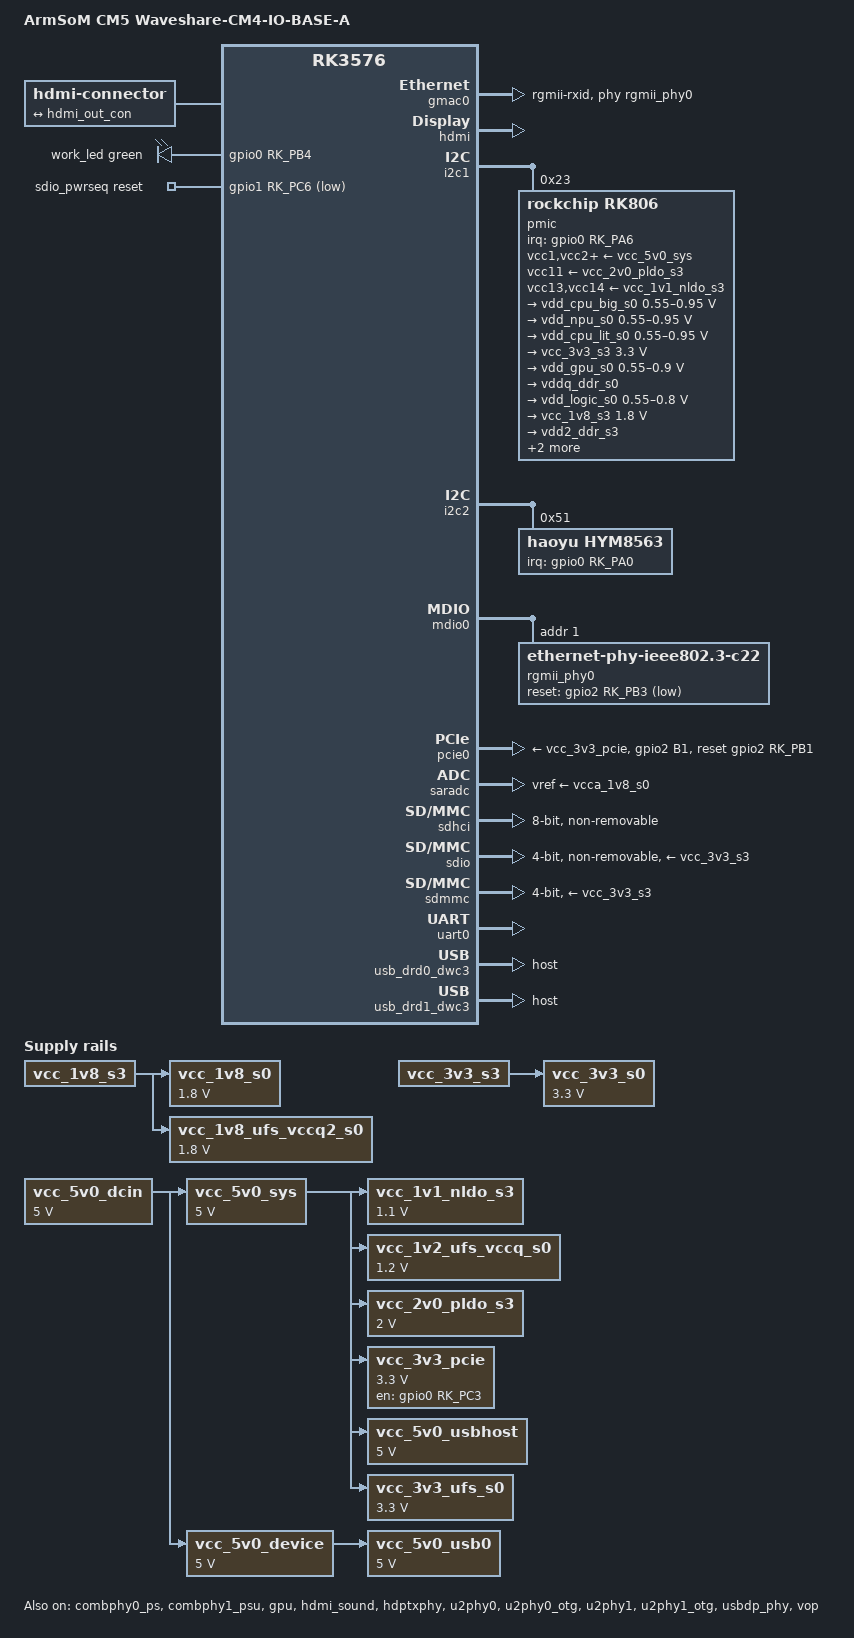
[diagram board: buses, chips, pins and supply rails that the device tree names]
// SPDX-License-Identifier: (GPL-2.0+ OR MIT)
/*
 * ArmSoM CM5 on Waveshare CM4-IO-BASE-A carrier — mainline-style DTS for EDK2/UEFI boot
 *
 * The ArmSoM CM5 is a Raspberry Pi CM4-form-factor compute module built on
 * the Rockchip RK3576 SoC (4×Cortex-A72 + 4×Cortex-A53, same silicon as
 * Radxa ROCK 4D).  This DTS targets the Waveshare CM4-IO-BASE-A carrier board.
 *
 * Waveshare CM4-IO-BASE-A carrier provides:
 *   - HDMI 2.1 via HDMI0 connector (HDMI1 connector is shared with USB3 adapter)
 *   - Gigabit Ethernet (GMAC0, RTL8211F, rgmii-rxid)
 *   - 2× USB 2.0 Type-A via FE1.1S USB 2.0 hub
 *   - 1× USB 2.0 connector (for USB3/4 adapter board — exposes DRD0 SS+HS)
 *   - M.2 M-key PCIe 2.0 ×1 slot
 *   - MicroSD card slot
 *   - 40-pin RPi-compatible GPIO header
 *   - 5V DC input (via USB-C power or 5V GPIO pin)
 *
 * CM5 module provides:
 *   - Onboard eMMC (SDHCI)
 *   - SYN43752 (WiFi 6 + BT 5.x) via SDIO / UART4
 *   - RK806 PMIC on I2C1
 *   - HYM8563 RTC on I2C2
 *
 * IMPORTANT HARDWARE NOTES:
 *   - Only HDMI0 works: CM5 has a single HDMI TX output.  The HDMI1 connector
 *     on this carrier is non-functional with the CM5 (those CM4 pins carry
 *     CM5's USB3 SS signals for the USB3/4 adapter connector).
 *   - The two Type-A USB 2.0 ports go through a FE1.1S USB hub — HS only.
 *   - USB3 SS is available via the side USB adapter connector (DRD0 lane),
 *     not from the standard USB-A ports.
 *   - No USB-C OTG port on this carrier board.
 *   - USB HOST 5V is always-on from the carrier board (no GPIO control needed).
 *
 * GPIO verification note:
 *   PCIe and GbE GPIO assignments are derived from ArmSoM CM5-IO schematics
 *   (rk3576-armsom-cm5-io.dts) as the Waveshare BASE-A schematic is not
 *   publicly available.  Verify against Waveshare CM4-IO-BASE-A V1.x schematic
 *   before using this DTS in a production kernel.
 *
 *   ArmSoM rockchip-kernel reference (branch linux-6.1-stan-rkr6.1):
 *     arch/arm64/boot/dts/rockchip/rk3576-armsom-cm5.dtsi
 *     arch/arm64/boot/dts/rockchip/rk3576-armsom-cm5-io.dts
 *     arch/arm64/boot/dts/rockchip/rk3576-rk806.dtsi
 *
 * Differences vs rk3576-armsom-cm5-rpi-cm4-io.dts:
 *   - carrier: Waveshare CM4-IO-BASE-A (vs RPi CM4 IO Board)
 *   - No EMC2301 fan controller or PCF85063 RTC on I2C5 (carrier-specific)
 *   - No carrier status LEDs on GPIO2 PD0/PD1
 *   - USB adapter connector for USB3 SS (vs no USB3 on RPi CM4 IO)
 *   - 5V DC input (vs 12V DC barrel on RPi CM4 IO)
 *
 * Copyright (c) 2024, ArmSoM
 * Copyright (c) 2025, Waveshare CM4-IO-BASE-A EDK2 Port
 */

/dts-v1/;

#include <dt-bindings/gpio/gpio.h>
#include <dt-bindings/leds/common.h>
#include <dt-bindings/pinctrl/rockchip.h>
#include <dt-bindings/pwm/pwm.h>
#include <dt-bindings/soc/rockchip,vop2.h>
#include <dt-bindings/usb/pd.h>
#include "rk3576.dtsi"

/ {
	model = "ArmSoM CM5 Waveshare-CM4-IO-BASE-A";
	compatible = "waveshare,cm4-io-base-a", "armsom,cm5", "rockchip,rk3576";

	aliases {
		ethernet0 = &gmac0;
		mmc0 = &sdhci;
		mmc1 = &sdmmc;
	};

	chosen {
		stdout-path = "serial0:1500000n8";
	};

	/*
	 * HDMI connector: HDMI0 (Type A) on Waveshare CM4-IO-BASE-A carrier.
	 * Connected to HDMI TX (hdmi: hdmi@27da0000) via HDPTX PHY.
	 * Note: HDMI1 connector on this board carries USB3 SS signals — not usable.
	 */
	hdmi-con {
		compatible = "hdmi-connector";
		type = "a";

		port {
			hdmi_con_in: endpoint {
				remote-endpoint = <&hdmi_out_con>;
			};
		};
	};

	/*
	 * Module work LED on CM5 module (GPIO0 PB4, active-high).
	 * The Waveshare CM4-IO-BASE-A carrier does not expose additional
	 * carrier-side status LEDs on CM5-accessible GPIOs.
	 */
	leds: leds {
		compatible = "gpio-leds";

		work_led: work-led {
			color = <LED_COLOR_ID_GREEN>;
			function = LED_FUNCTION_ACTIVITY;
			gpios = <&gpio0 RK_PB4 GPIO_ACTIVE_HIGH>;
			linux,default-trigger = "heartbeat";
		};
	};

	/*
	 * Power domain: 5V DC input (via USB-C power delivery or 5V GPIO header pin).
	 * The Waveshare CM4-IO-BASE-A accepts 5V at up to 3A.
	 */
	vcc_5v0_dcin: regulator-vcc-5v0-dcin {
		compatible = "regulator-fixed";
		regulator-name = "vcc_5v0_dcin";
		regulator-always-on;
		regulator-boot-on;
		regulator-min-microvolt = <5000000>;
		regulator-max-microvolt = <5000000>;
	};

	vcc_1v1_nldo_s3: regulator-vcc-1v1-nldo-s3 {
		compatible = "regulator-fixed";
		regulator-name = "vcc_1v1_nldo_s3";
		regulator-boot-on;
		regulator-always-on;
		regulator-min-microvolt = <1100000>;
		regulator-max-microvolt = <1100000>;
		vin-supply = <&vcc_5v0_sys>;
	};

	vcc_1v2_ufs_vccq_s0: regulator-vcc-1v2-ufs-vccq-s0 {
		compatible = "regulator-fixed";
		regulator-name = "vcc_1v2_ufs_vccq_s0";
		regulator-boot-on;
		regulator-always-on;
		regulator-min-microvolt = <1200000>;
		regulator-max-microvolt = <1200000>;
		vin-supply = <&vcc_5v0_sys>;
	};

	vcc_1v8_s0: regulator-vcc-1v8-s0 {
		compatible = "regulator-fixed";
		regulator-name = "vcc_1v8_s0";
		regulator-boot-on;
		regulator-always-on;
		regulator-min-microvolt = <1800000>;
		regulator-max-microvolt = <1800000>;
		vin-supply = <&vcc_1v8_s3>;
	};

	vcc_1v8_ufs_vccq2_s0: regulator-vcc-1v8-ufs-vccq2-s0 {
		compatible = "regulator-fixed";
		regulator-name = "vcc_1v8_ufs_vccq2_s0";
		regulator-boot-on;
		regulator-always-on;
		regulator-min-microvolt = <1800000>;
		regulator-max-microvolt = <1800000>;
		vin-supply = <&vcc_1v8_s3>;
	};

	vcc_2v0_pldo_s3: regulator-vcc-2v0-pldo-s3 {
		compatible = "regulator-fixed";
		regulator-name = "vcc_2v0_pldo_s3";
		regulator-boot-on;
		regulator-always-on;
		regulator-min-microvolt = <2000000>;
		regulator-max-microvolt = <2000000>;
		vin-supply = <&vcc_5v0_sys>;
	};

	/*
	 * PCIe 3.3 V supply: gated by GPIO0 PC3 (active-high).
	 * Supplies the M.2 PCIe slot on the CM4-IO-BASE-A carrier board.
	 * GPIO assignment derived from CM5-IO; verify against BASE-A schematic.
	 */
	vcc_3v3_pcie: regulator-vcc-3v3-pcie {
		compatible = "regulator-fixed";
		pinctrl-names = "default";
		pinctrl-0 = <&pcie_pwr_en>;
		regulator-name = "vcc_3v3_pcie";
		regulator-min-microvolt = <3300000>;
		regulator-max-microvolt = <3300000>;
		enable-active-high;
		gpio = <&gpio0 RK_PC3 GPIO_ACTIVE_HIGH>;
		startup-delay-us = <5000>;
		vin-supply = <&vcc_5v0_sys>;
	};

	vcc_3v3_s0: regulator-vcc-3v3-s0 {
		compatible = "regulator-fixed";
		regulator-name = "vcc_3v3_s0";
		regulator-boot-on;
		regulator-always-on;
		regulator-min-microvolt = <3300000>;
		regulator-max-microvolt = <3300000>;
		vin-supply = <&vcc_3v3_s3>;
	};

	vcc_5v0_sys: regulator-vcc-5v0-sys {
		compatible = "regulator-fixed";
		regulator-name = "vcc_5v0_sys";
		regulator-always-on;
		regulator-boot-on;
		regulator-min-microvolt = <5000000>;
		regulator-max-microvolt = <5000000>;
		vin-supply = <&vcc_5v0_dcin>;
	};

	vcc_5v0_device: regulator-vcc-5v0-device {
		compatible = "regulator-fixed";
		regulator-name = "vcc_5v0_device";
		regulator-always-on;
		regulator-boot-on;
		regulator-min-microvolt = <5000000>;
		regulator-max-microvolt = <5000000>;
		vin-supply = <&vcc_5v0_dcin>;
	};

	/*
	 * USB DRD0 5V supply: powers the USB3/4 adapter connector (side port).
	 * On CM4-IO-BASE-A this port is always-on; no GPIO control needed.
	 * (CM5-IO uses GPIO2 PB6 for USB-C OTG 5V; BASE-A has no USB-C port.)
	 */
	vcc_5v0_usb0: regulator-vcc-5v0-usb0 {
		compatible = "regulator-fixed";
		regulator-name = "vcc_5v0_usb0";
		regulator-always-on;
		regulator-boot-on;
		regulator-min-microvolt = <5000000>;
		regulator-max-microvolt = <5000000>;
		vin-supply = <&vcc_5v0_device>;
	};

	/*
	 * USB HOST 5V supply: powers the FE1.1S USB hub and USB-A ports.
	 * Always-on from the carrier board 5V rail.
	 */
	vcc_5v0_usbhost: regulator-vcc-5v0-usbhost {
		compatible = "regulator-fixed";
		regulator-name = "vcc_5v0_usbhost";
		regulator-always-on;
		regulator-boot-on;
		regulator-min-microvolt = <5000000>;
		regulator-max-microvolt = <5000000>;
		vin-supply = <&vcc_5v0_sys>;
	};

	vcc_3v3_ufs_s0: regulator-vcc-ufs-s0 {
		compatible = "regulator-fixed";
		regulator-name = "vcc_3v3_ufs_s0";
		regulator-boot-on;
		regulator-always-on;
		regulator-min-microvolt = <3300000>;
		regulator-max-microvolt = <3300000>;
		vin-supply = <&vcc_5v0_sys>;
	};

	/*
	 * WiFi power sequencer for SYN43752 (on CM5 module).
	 * Reset GPIO: GPIO1 PC6 active-low.
	 * Clock from HYM8563 external RTC oscillator.
	 */
	sdio_pwrseq: sdio-pwrseq {
		compatible = "mmc-pwrseq-simple";
		clocks = <&hym8563>;
		clock-names = "ext_clock";
		pinctrl-names = "default";
		pinctrl-0 = <&wifi_reg_on>;
		reset-gpios = <&gpio1 RK_PC6 GPIO_ACTIVE_LOW>;
	};
};

/*
 * ComboPHY0 → PCIe lane (M.2 slot on CM4-IO-BASE-A).
 * ComboPHY1 → USB3 lane (available via USB3/4 adapter connector via DRD1).
 */
&combphy0_ps {
	status = "okay";
};

&combphy1_psu {
	status = "okay";
};

&cpu_b0 {
	cpu-supply = <&vdd_cpu_big_s0>;
};

&cpu_b1 {
	cpu-supply = <&vdd_cpu_big_s0>;
};

&cpu_b2 {
	cpu-supply = <&vdd_cpu_big_s0>;
};

&cpu_b3 {
	cpu-supply = <&vdd_cpu_big_s0>;
};

&cpu_l0 {
	cpu-supply = <&vdd_cpu_lit_s0>;
};

&cpu_l1 {
	cpu-supply = <&vdd_cpu_lit_s0>;
};

&cpu_l2 {
	cpu-supply = <&vdd_cpu_lit_s0>;
};

&cpu_l3 {
	cpu-supply = <&vdd_cpu_lit_s0>;
};

/*
 * GMAC0: RTL8211F GbE in rgmii-rxid mode.
 * PHY delay: MAC side TX delay = 0x21 (board trace compensation).
 * PHY reset: GPIO2 PB3 active-low (same as CM5-IO; verify with BASE-A schematic).
 */
&gmac0 {
	phy-mode = "rgmii-rxid";
	clock_in_out = "output";
	tx_delay = <0x21>;
	rx_delay = <0x00>;
	phy-handle = <&rgmii_phy0>;
	pinctrl-names = "default";
	pinctrl-0 = <&eth0m0_miim
		     &eth0m0_tx_bus2
		     &eth0m0_rx_bus2
		     &eth0m0_rgmii_clk
		     &eth0m0_rgmii_bus>;
	status = "okay";
};

&gpu {
	mali-supply = <&vdd_gpu_s0>;
	status = "okay";
};

&hdmi {
	status = "okay";
};

&hdmi_in {
	hdmi_in_vp0: endpoint {
		remote-endpoint = <&vp0_out_hdmi>;
	};
};

&hdmi_out {
	hdmi_out_con: endpoint {
		remote-endpoint = <&hdmi_con_in>;
	};
};

&hdmi_sound {
	status = "okay";
};

&hdptxphy {
	status = "okay";
};

/*
 * I2C1: RK806 PMIC @ 0x23 (interrupt on GPIO0 PA6).
 * Pinctrl: i2c1m0 — GPIO0 PB2 (SCL) / GPIO0 PB3 (SDA), function 11.
 */
&i2c1 {
	status = "okay";

	pmic@23 {
		compatible = "rockchip,rk806";
		reg = <0x23>;

		interrupt-parent = <&gpio0>;
		interrupts = <RK_PA6 IRQ_TYPE_LEVEL_LOW>;

		pinctrl-names = "default";
		pinctrl-0 = <&pmic_pins>, <&rk806_dvs1_null>,
			    <&rk806_dvs2_null>, <&rk806_dvs3_null>;

		system-power-controller;

		vcc1-supply = <&vcc_5v0_sys>;
		vcc2-supply = <&vcc_5v0_sys>;
		vcc3-supply = <&vcc_5v0_sys>;
		vcc4-supply = <&vcc_5v0_sys>;
		vcc5-supply = <&vcc_5v0_sys>;
		vcc6-supply = <&vcc_5v0_sys>;
		vcc7-supply = <&vcc_5v0_sys>;
		vcc8-supply = <&vcc_5v0_sys>;
		vcc9-supply = <&vcc_5v0_sys>;
		vcc10-supply = <&vcc_5v0_sys>;
		vcc11-supply = <&vcc_2v0_pldo_s3>;
		vcc12-supply = <&vcc_5v0_sys>;
		vcc13-supply = <&vcc_1v1_nldo_s3>;
		vcc14-supply = <&vcc_1v1_nldo_s3>;
		vcca-supply = <&vcc_5v0_sys>;

		gpio-controller;
		#gpio-cells = <2>;

		rk806_dvs1_null: dvs1-null-pins {
			pins = "gpio_pwrctrl1";
			function = "pin_fun0";
		};

		rk806_dvs2_null: dvs2-null-pins {
			pins = "gpio_pwrctrl2";
			function = "pin_fun0";
		};

		rk806_dvs3_null: dvs3-null-pins {
			pins = "gpio_pwrctrl3";
			function = "pin_fun0";
		};

		regulators {
			vdd_cpu_big_s0: dcdc-reg1 {
				regulator-always-on;
				regulator-boot-on;
				regulator-min-microvolt = <550000>;
				regulator-max-microvolt = <950000>;
				regulator-ramp-delay = <12500>;
				regulator-name = "vdd_cpu_big_s0";
				regulator-enable-ramp-delay = <400>;
				regulator-state-mem {
					regulator-off-in-suspend;
				};
			};

			vdd_npu_s0: dcdc-reg2 {
				regulator-boot-on;
				regulator-min-microvolt = <550000>;
				regulator-max-microvolt = <950000>;
				regulator-ramp-delay = <12500>;
				regulator-name = "vdd_npu_s0";
				regulator-enable-ramp-delay = <400>;
				regulator-state-mem {
					regulator-off-in-suspend;
				};
			};

			vdd_cpu_lit_s0: dcdc-reg3 {
				regulator-always-on;
				regulator-boot-on;
				regulator-min-microvolt = <550000>;
				regulator-max-microvolt = <950000>;
				regulator-ramp-delay = <12500>;
				regulator-name = "vdd_cpu_lit_s0";
				regulator-state-mem {
					regulator-off-in-suspend;
					regulator-suspend-microvolt = <750000>;
				};
			};

			vcc_3v3_s3: dcdc-reg4 {
				regulator-always-on;
				regulator-boot-on;
				regulator-min-microvolt = <3300000>;
				regulator-max-microvolt = <3300000>;
				regulator-name = "vcc_3v3_s3";
				regulator-state-mem {
					regulator-on-in-suspend;
					regulator-suspend-microvolt = <3300000>;
				};
			};

			vdd_gpu_s0: dcdc-reg5 {
				regulator-boot-on;
				regulator-min-microvolt = <550000>;
				regulator-max-microvolt = <900000>;
				regulator-ramp-delay = <12500>;
				regulator-name = "vdd_gpu_s0";
				regulator-enable-ramp-delay = <400>;
				regulator-state-mem {
					regulator-off-in-suspend;
					regulator-suspend-microvolt = <850000>;
				};
			};

			vddq_ddr_s0: dcdc-reg6 {
				regulator-always-on;
				regulator-boot-on;
				regulator-name = "vddq_ddr_s0";
				regulator-state-mem {
					regulator-off-in-suspend;
				};
			};

			vdd_logic_s0: dcdc-reg7 {
				regulator-always-on;
				regulator-boot-on;
				regulator-min-microvolt = <550000>;
				regulator-max-microvolt = <800000>;
				regulator-name = "vdd_logic_s0";
				regulator-state-mem {
					regulator-off-in-suspend;
				};
			};

			vcc_1v8_s3: dcdc-reg8 {
				regulator-always-on;
				regulator-boot-on;
				regulator-min-microvolt = <1800000>;
				regulator-max-microvolt = <1800000>;
				regulator-name = "vcc_1v8_s3";
				regulator-state-mem {
					regulator-on-in-suspend;
					regulator-suspend-microvolt = <1800000>;
				};
			};

			vdd2_ddr_s3: dcdc-reg9 {
				regulator-always-on;
				regulator-boot-on;
				regulator-name = "vdd2_ddr_s3";
				regulator-state-mem {
					regulator-on-in-suspend;
				};
			};

			vdd_ddr_s0: dcdc-reg10 {
				regulator-always-on;
				regulator-boot-on;
				regulator-min-microvolt = <550000>;
				regulator-max-microvolt = <1200000>;
				regulator-name = "vdd_ddr_s0";
				regulator-state-mem {
					regulator-off-in-suspend;
				};
			};

			vcca_1v8_s0: pldo-reg1 {
				regulator-always-on;
				regulator-boot-on;
				regulator-min-microvolt = <1800000>;
				regulator-max-microvolt = <1800000>;
				regulator-name = "vcca_1v8_s0";
				regulator-state-mem {
					regulator-off-in-suspend;
				};
			};

			vcca1v8_pldo2_s0: pldo-reg2 {
				regulator-always-on;
				regulator-boot-on;
				regulator-min-microvolt = <1800000>;
				regulator-max-microvolt = <1800000>;
				regulator-name = "vcca1v8_pldo2_s0";
				regulator-state-mem {
					regulator-off-in-suspend;
				};
			};

			vdda_1v2_s0: pldo-reg3 {
				regulator-always-on;
				regulator-boot-on;
				regulator-min-microvolt = <1200000>;
				regulator-max-microvolt = <1200000>;
				regulator-name = "vdda_1v2_s0";
				regulator-state-mem {
					regulator-off-in-suspend;
				};
			};

			vcca_3v3_s0: pldo-reg4 {
				regulator-always-on;
				regulator-boot-on;
				regulator-min-microvolt = <3300000>;
				regulator-max-microvolt = <3300000>;
				regulator-name = "vcca_3v3_s0";
				regulator-state-mem {
					regulator-off-in-suspend;
				};
			};

			vccio_sd_s0: pldo-reg5 {
				regulator-always-on;
				regulator-boot-on;
				regulator-min-microvolt = <1800000>;
				regulator-max-microvolt = <3300000>;
				regulator-name = "vccio_sd_s0";
				regulator-state-mem {
					regulator-off-in-suspend;
				};
			};

			vcca1v8_pldo6_s3: pldo-reg6 {
				regulator-always-on;
				regulator-boot-on;
				regulator-min-microvolt = <1800000>;
				regulator-max-microvolt = <1800000>;
				regulator-name = "vcca1v8_pldo6_s3";
				regulator-state-mem {
					regulator-on-in-suspend;
					regulator-suspend-microvolt = <1800000>;
				};
			};

			vdd_0v75_s3: nldo-reg1 {
				regulator-always-on;
				regulator-boot-on;
				regulator-min-microvolt = <750000>;
				regulator-max-microvolt = <750000>;
				regulator-name = "vdd_0v75_s3";
				regulator-state-mem {
					regulator-on-in-suspend;
					regulator-suspend-microvolt = <750000>;
				};
			};

			vdda_ddr_pll_s0: nldo-reg2 {
				regulator-always-on;
				regulator-boot-on;
				regulator-min-microvolt = <850000>;
				regulator-max-microvolt = <850000>;
				regulator-name = "vdda_ddr_pll_s0";
				regulator-state-mem {
					regulator-off-in-suspend;
				};
			};

			vdda0v75_hdmi_s0: nldo-reg3 {
				regulator-always-on;
				regulator-boot-on;
				regulator-min-microvolt = <837500>;
				regulator-max-microvolt = <837500>;
				regulator-name = "vdda0v75_hdmi_s0";
				regulator-state-mem {
					regulator-off-in-suspend;
				};
			};

			vdda_0v85_s0: nldo-reg4 {
				regulator-always-on;
				regulator-boot-on;
				regulator-min-microvolt = <850000>;
				regulator-max-microvolt = <850000>;
				regulator-name = "vdda_0v85_s0";
				regulator-state-mem {
					regulator-off-in-suspend;
				};
			};

			vdda_0v75_s0: nldo-reg5 {
				regulator-always-on;
				regulator-boot-on;
				regulator-min-microvolt = <750000>;
				regulator-max-microvolt = <750000>;
				regulator-name = "vdda_0v75_s0";
				regulator-state-mem {
					regulator-off-in-suspend;
				};
			};
		};
	};
};

/*
 * I2C2: HYM8563 RTC @ 0x51 (interrupt on GPIO0 PA0).
 * Pinctrl: i2c2m0 — GPIO0 PB7 (SCL) / GPIO0 PC0 (SDA), function 9.
 */
&i2c2 {
	status = "okay";

	hym8563: rtc@51 {
		compatible = "haoyu,hym8563";
		reg = <0x51>;
		clock-output-names = "hym8563";
		interrupt-parent = <&gpio0>;
		interrupts = <RK_PA0 IRQ_TYPE_LEVEL_LOW>;
		pinctrl-names = "default";
		pinctrl-0 = <&hym8563_int>;
		wakeup-source;
		#clock-cells = <0>;
	};
};

&mdio0 {
	rgmii_phy0: phy@1 {
		compatible = "ethernet-phy-ieee802.3-c22";
		reg = <0x1>;
		pinctrl-names = "default";
		pinctrl-0 = <&gmac0_rst>;
		reset-assert-us = <20000>;
		reset-deassert-us = <100000>;
		/* GPIO2 PB3 active-low — verify with CM4-IO-BASE-A schematic */
		reset-gpios = <&gpio2 RK_PB3 GPIO_ACTIVE_LOW>;
	};
};

/*
 * PCIe 2.0 ×1 for M.2 slot (combphy0_ps as PCIe lane).
 * Reset:  GPIO2 PB1 (active-high) — verify with CM4-IO-BASE-A schematic.
 * Power:  vcc_3v3_pcie (gated by GPIO0 PC3) — verify with CM4-IO-BASE-A schematic.
 */
&pcie0 {
	pinctrl-names = "default";
	pinctrl-0 = <&pcie_reset>;
	reset-gpios = <&gpio2 RK_PB1 GPIO_ACTIVE_HIGH>;
	vpcie3v3-supply = <&vcc_3v3_pcie>;
	status = "okay";
};

&pinctrl {
	gmac {
		/* GPIO2 PB3 — PHY reset (active-low; verify with BASE-A schematic) */
		gmac0_rst: gmac0-rst {
			rockchip,pins = <2 RK_PB3 RK_FUNC_GPIO &pcfg_pull_none>;
		};
	};

	hym8563 {
		hym8563_int: hym8563-int {
			rockchip,pins = <0 RK_PA0 RK_FUNC_GPIO &pcfg_pull_up>;
		};
	};

	leds {
		work_led_en: work-led-en {
			rockchip,pins = <0 RK_PB4 RK_FUNC_GPIO &pcfg_pull_none>;
		};
	};

	pcie {
		/* GPIO0 PC3 — PCIe power enable (verify with BASE-A schematic) */
		pcie_pwr_en: pcie-pwr-en {
			rockchip,pins = <0 RK_PC3 RK_FUNC_GPIO &pcfg_pull_down>;
		};
		/* GPIO2 PB1 — PCIe PERST# (verify with BASE-A schematic) */
		pcie_reset: pcie-reset {
			rockchip,pins = <2 RK_PB1 RK_FUNC_GPIO &pcfg_pull_up>;
		};
	};

	wireless-bluetooth {
		/* GPIO1 PC7 — BT reset / enable (active-high) */
		bt_reg_on: bt-reg-on {
			rockchip,pins = <1 RK_PC7 RK_FUNC_GPIO &pcfg_pull_up>;
		};

		/* GPIO0 PB0 — BT wake host (input) */
		bt_wake_host: bt-wake-host {
			rockchip,pins = <0 RK_PB0 RK_FUNC_GPIO &pcfg_pull_down>;
		};
	};

	wireless-wlan {
		/* GPIO0 PB0 — WiFi wake host (input, shared with BT wake) */
		wifi_wake_host: wifi-wake-host {
			rockchip,pins = <0 RK_PB0 RK_FUNC_GPIO &pcfg_pull_down>;
		};

		/* GPIO1 PC6 — WiFi reset (active-low, part of sdio_pwrseq) */
		wifi_reg_on: wifi-reg-on {
			rockchip,pins = <1 RK_PC6 RK_FUNC_GPIO &pcfg_pull_none>;
		};
	};
};

&saradc {
	vref-supply = <&vcca_1v8_s0>;
	status = "okay";
};

/*
 * eMMC: onboard on CM5 module (SDHCI @ 0x2A330000).
 * HS400 at 200 MHz with enhanced strobe.
 */
&sdhci {
	bus-width = <8>;
	full-pwr-cycle-in-suspend;
	max-frequency = <200000000>;
	mmc-hs400-1_8v;
	mmc-hs400-enhanced-strobe;
	no-sdio;
	no-sd;
	non-removable;
	status = "okay";
};

/*
 * SDIO: SYN43752 WiFi (sdio/sdmmc1 on CM5 module).
 * Power sequenced by sdio_pwrseq (GPIO1 PC6 active-low reset).
 * Clock provided by HYM8563.
 */
&sdio {
	bus-width = <4>;
	cap-sdio-irq;
	disable-wp;
	keep-power-in-suspend;
	mmc-pwrseq = <&sdio_pwrseq>;
	no-sd;
	no-mmc;
	non-removable;
	sd-uhs-sdr50;
	sd-uhs-sdr104;
	vmmc-supply = <&vcc_3v3_s3>;
	vqmmc-supply = <&vcc_1v8_s3>;
	wakeup-source;
	status = "okay";
};

/*
 * SDMMC: MicroSD card slot on CM4-IO-BASE-A carrier board.
 */
&sdmmc {
	bus-width = <4>;
	cap-mmc-highspeed;
	cap-sd-highspeed;
	disable-wp;
	max-frequency = <200000000>;
	no-sdio;
	no-mmc;
	sd-uhs-sdr104;
	vmmc-supply = <&vcc_3v3_s3>;
	vqmmc-supply = <&vccio_sd_s0>;
	status = "okay";
};

&u2phy0 {
	status = "okay";
};

&u2phy0_otg {
	/* DRD0: USB adapter connector port on CM4-IO-BASE-A (always-on 5V) */
	phy-supply = <&vcc_5v0_usb0>;
	status = "okay";
};

&u2phy1 {
	status = "okay";
};

&u2phy1_otg {
	/* DRD1: FE1.1S USB hub port (always-on 5V) */
	phy-supply = <&vcc_5v0_usbhost>;
	status = "okay";
};

&uart0 {
	pinctrl-0 = <&uart0m0_xfer>;
	status = "okay";
};

/*
 * UART4: Bluetooth (SYN43752) on CM5 module.
 * Pinctrl group uart4m1 used on CM5.
 */
&uart4 {
	pinctrl-0 = <&uart4m1_xfer &uart4m1_ctsn &uart4m1_rtsn>;
	pinctrl-names = "default";
	uart-has-rtscts;
};

/*
 * USB DRD0: USB3/4 adapter connector port on CM4-IO-BASE-A.
 * USBDP PHY provides SuperSpeed on the adapter connector.
 * Configured as host for UEFI.
 */
&usb_drd0_dwc3 {
	dr_mode = "host";
	status = "okay";
};

/*
 * USB DRD1: FE1.1S USB 2.0 hub port (combphy1_psu SS + u2phy1 HS).
 */
&usb_drd1_dwc3 {
	dr_mode = "host";
	status = "okay";
};

&usbdp_phy {
	status = "okay";
};

&vop {
	status = "okay";
};

&vop_mmu {
	status = "okay";
};

&vp0 {
	vp0_out_hdmi: endpoint@ROCKCHIP_VOP2_EP_HDMI0 {
		reg = <ROCKCHIP_VOP2_EP_HDMI0>;
		remote-endpoint = <&hdmi_in_vp0>;
	};
};
